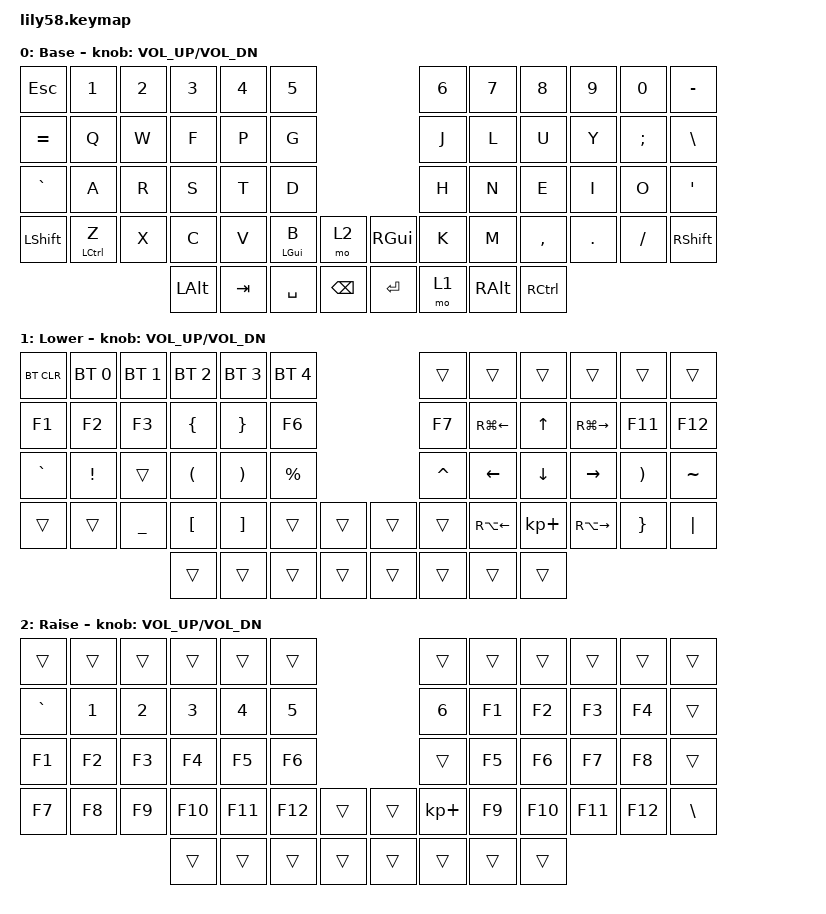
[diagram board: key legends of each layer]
/*
 * Copyright (c) 2020 The ZMK Contributors
 *
 * SPDX-License-Identifier: MIT
 */

#include <behaviors.dtsi>
#include <dt-bindings/zmk/keys.h>
#include <dt-bindings/zmk/bt.h>
#include <dt-bindings/zmk/ext_power.h>

&mt {
    tapping-term-ms = <1000>;
};

/ {
    keymap {
        compatible = "zmk,keymap";

        default_layer {
// ------------------------------------------------------------------------------------------------------------
// |  ESC  |  1  |  2  |  3   |  4   |  5   |                   |  6   |  7    |  8    |  9   |   0   |   -   |
// |  =  |  Q  |  W  |  F   |  P   |  G   |                   |  J   |  L    |  U    |  Y   |   ;   |   \   |
// |  BSPC |  A  |  R  |  S   |  T   |  D   |                   |  H   |  N    |  E    |  I   |   O   |   '   |
// | SHIFT |  Z  |  X  |  C   |  V   |  B   |   RAISE  |  |  LOWER  |  K   |  M    |  ,    |  .   |   /   | SHIFT |
//                     | CTRL  | ALT  | GUI|  SPACE |  | ENTER | GUI| ALT | CTRL   |
            display-name = "Base";
            bindings = <
&kp ESC    &kp N1 &kp N2 &kp N3   &kp N4   &kp N5                                 &kp N6   &kp N7   &kp N8    &kp N9    &kp N0    &kp MINUS
&kp EQUAL  &kp Q  &kp W  &kp F    &kp P    &kp G                                  &kp J    &kp L    &kp U     &kp Y     &kp SEMI  &kp BSLH
&kp GRAVE  &kp A  &kp R  &kp S    &kp T    &kp D                                  &kp H    &kp N    &kp E     &kp I     &kp O     &kp SQT
&kp LSHFT  &mt LCTRL Z   &kp X    &kp C    &kp V   &mt LGUI B  &mo 2     &kp RGUI &kp K    &kp M     &kp COMMA &kp DOT &kp FSLH &kp RSHFT
                                  &kp LALT &kp TAB &kp SPACE  &kp BSPC  &kp RET  &mo 1  &kp RALT &kp RCTRL
            >;

            sensor-bindings = <&inc_dec_kp C_VOL_UP C_VOL_DN>;
        };

        lower_layer {
// ------------------------------------------------------------------------------------------------------------
// | BTCLR | BT1 | BT2 |  BT3 |  BT4 |  BT5 |                   |      |       |       |      |       |       |
// |  F1   |  F2 |  F3 |  F4  |  F5  |  F6  |                   |  F7  |  F8   |  F9   |  F10 |  F11  |  F12  |
// |   `   |  !  |  @  |  #   |  $   |  %   |                   |  ^   |  &    |  *    |  (   |   )   |   ~   |
// |       |     |     |      |      |      |        |  |       |      |  _    |  +    |  {   |   }   |  "|"  |
//                     |      |      |      |        |  |       |      |       |       |
            display-name = "Lower";
            bindings = <
&bt BT_CLR &bt BT_SEL 0     &bt BT_SEL 1      &bt BT_SEL 2      &bt BT_SEL 3 &bt BT_SEL 4                 &trans    &trans          &trans      &trans    &trans    &trans
&kp F1     &kp F2           &kp F3            &kp LBRC          &kp RBRC       &kp F6                     &kp F7    &kp RG(LEFT)  &kp UP      &kp RG(RIGHT)   &kp F11   &kp F12
&kp GRAVE  &kp EXCL         &trans            &kp LPAR       &kp RPAR     &kp PRCNT                 &kp CARET &kp LEFT        &kp DOWN    &kp RIGHT  &kp RPAR  &kp TILDE
&trans     &trans           &kp UNDER            &kp LBKT          &kp RBKT     &trans    &trans   &trans    &trans    &kp RA(LEFT)  &kp KP_PLUS &kp RA(RIGHT)  &kp RBRC  &kp PIPE
                                              &trans            &trans       &trans    &trans   &trans    &trans    &trans          &trans
            >;

            sensor-bindings = <&inc_dec_kp C_VOL_UP C_VOL_DN>;
        };

        raise_layer {
// ------------------------------------------------------------------------------------------------------------
// |       |     |     |      |      |      |                   |      |       |       |      |       |       |
// |   `   |  1  |  2  |  3   |  4   |  5   |                   |  6   |   7   |   8   |  9   |   0   |       |
// |   F1  |  F2 |  F3 |  F4  |  F5  |  F6  |                   |      |   <-  |   v   |  ^   |  ->   |       |
// |   F7  |  F8 |  F9 |  F10 |  F11 |  F12 |        |  |       |  +   |   -   |   =   |  [   |   ]   |   \   |
//                     |      |      |      |        |  |       |      |       |       |
            display-name = "Raise";
            bindings = <
&trans    &trans &trans &trans  &trans  &trans                       &trans      &trans    &trans    &trans   &trans    &trans
&kp GRAVE &kp N1 &kp N2 &kp N3  &kp N4  &kp N5                       &kp N6      &kp F1    &kp F2    &kp F3   &kp F4    &trans
&kp F1    &kp F2 &kp F3 &kp F4  &kp F5  &kp F6                       &trans      &kp F5  &kp F6  &kp F7   &kp F8 &trans
&kp F7    &kp F8 &kp F9 &kp F10 &kp F11 &kp F12   &trans   &trans    &kp KP_PLUS &kp F9 &kp F10 &kp F11 &kp F12  &kp BSLH
                        &trans  &trans  &trans    &trans   &trans    &trans      &trans    &trans
            >;

            sensor-bindings = <&inc_dec_kp C_VOL_UP C_VOL_DN>;
        };
    };

    combos {
        compatible = "zmk,combos";
        combo_esc {
            timeout-ms = <100>;
            key-positions = <36 49>;
            bindings = <&kp RG(SPACE)>;
        };
        combo_esc {
            timeout-ms = <100>;
            key-positions = <36 49>;
            bindings = <&kp RG(RALT(RCTRL(SPACE)))>;
        };
};
};
